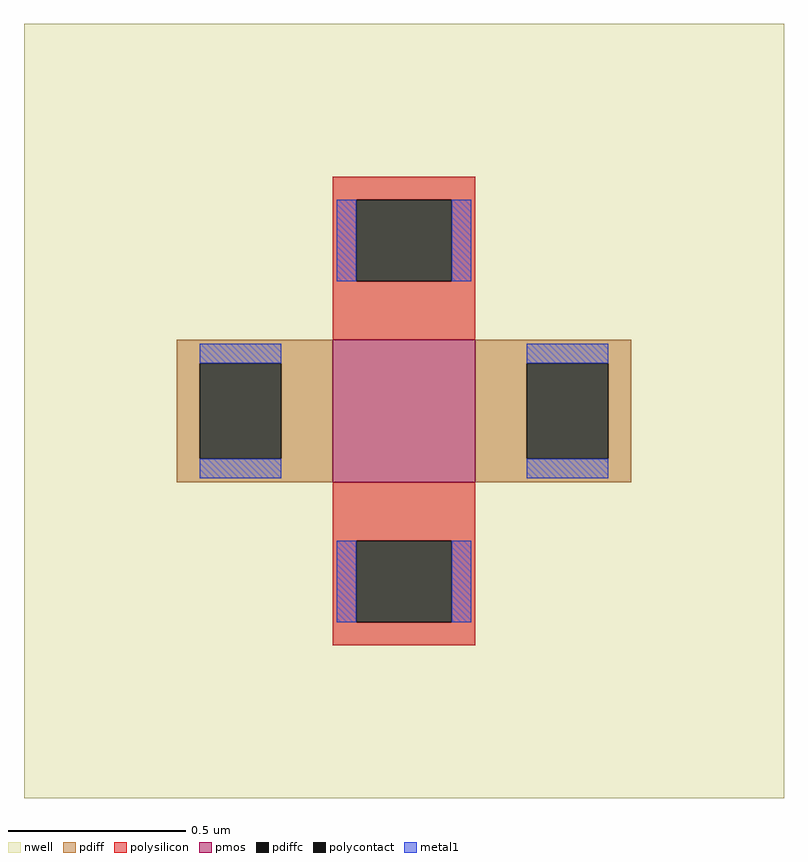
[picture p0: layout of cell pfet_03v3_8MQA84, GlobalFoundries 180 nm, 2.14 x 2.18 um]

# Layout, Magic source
magic
tech gf180mcuD
magscale 1 10
<< nwell >>
rect -214 -218 214 218
<< pmos >>
rect -40 -40 40 40
<< pdiff >>
rect -128 27 -40 40
rect -128 -27 -115 27
rect -69 -27 -40 27
rect -128 -40 -40 -27
rect 40 27 128 40
rect 40 -27 69 27
rect 115 -27 128 27
rect 40 -40 128 -27
<< pdiffc >>
rect -115 -27 -69 27
rect 69 -27 115 27
<< polysilicon >>
rect -40 119 40 132
rect -40 73 -27 119
rect 27 73 40 119
rect -40 40 40 73
rect -40 -73 40 -40
rect -40 -119 -27 -73
rect 27 -119 40 -73
rect -40 -132 40 -119
<< polycontact >>
rect -27 73 27 119
rect -27 -119 27 -73
<< metal1 >>
rect -38 73 -27 119
rect 27 73 38 119
rect -115 27 -69 38
rect -115 -38 -69 -27
rect 69 27 115 38
rect 69 -38 115 -27
rect -38 -119 -27 -73
rect 27 -119 38 -73
<< properties >>
string gencell pfet_03v3
string library gf180mcu
string parameters w 0.4 l 0.4 m 1 nf 1 diffcov 100 polycov 100 guard 0 glc 1 grc 1 gtc 0 gbc 0 tbcov 100 rlcov 100 topc 1 botc 1 poverlap 0 doverlap 1 lmin 0.28 wmin 0.22 class mosfet full_metal 0 compatible {pfet_03v3 pfet_06v0}
<< end >>
